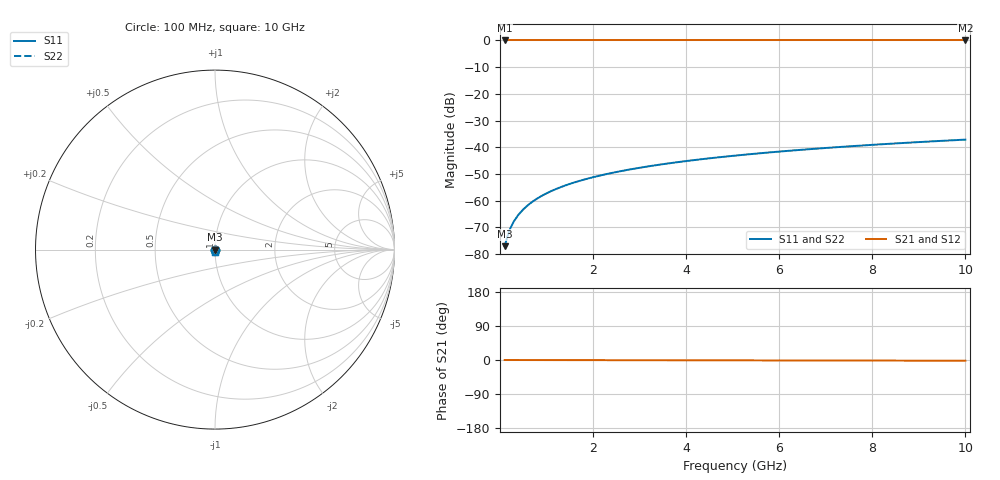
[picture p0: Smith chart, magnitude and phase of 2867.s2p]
# Hz S RI R 50.00
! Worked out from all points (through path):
!   100 points, 100 MHz to 10 GHz, reference 50 ohm
!   highest |S21| = 0.00 dB at 100 MHz (marker M1); lowest = 0.0 dB at 10 GHz (marker M2)
!   lowest |S11| = -77.0 dB at 100 MHz (marker M3), VSWR 1.00, Z = 50 - j0.0138 ohm
!   |S11| at or under -10 dB: start of sweep to end of sweep
!   |S22| runs from -77.0 to -37.1 dB; largest |S21 - S12| = 0
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1e8  3.26e-05 -0.000138  1 -0.000324  1 -0.000324  3.26e-05 -0.000138
2e8  3.24e-05 -0.000275  1 -0.000648  1 -0.000648  3.24e-05 -0.000275
3e8  3.22e-05 -0.000413  1 -0.000972  1 -0.000972  3.22e-05 -0.000413
4e8  3.18e-05 -0.00055  1 -0.0013  1 -0.0013  3.18e-05 -0.00055
5e8  3.13e-05 -0.000688  1 -0.00162  1 -0.00162  3.13e-05 -0.000688
6e8  3.07e-05 -0.000826  1 -0.00194  1 -0.00194  3.07e-05 -0.000826
7e8  2.99e-05 -0.000964  1 -0.00227  1 -0.00227  2.99e-05 -0.000964
8e8  2.91e-05 -0.0011  1 -0.00259  1 -0.00259  2.91e-05 -0.0011
9e8  2.82e-05 -0.00124  1 -0.00292  1 -0.00292  2.82e-05 -0.00124
1.1e9  2.62e-05 -0.00151  1 -0.00357  1 -0.00357  2.62e-05 -0.00151
1.4e9  2.24e-05 -0.00193  0.9999 -0.00454  0.9999 -0.00454  2.24e-05 -0.00193
1.8e9  1.6e-05 -0.00248  0.9999 -0.00584  0.9999 -0.00584  1.6e-05 -0.00248
2.1e9  1.02e-05 -0.0029  0.9999 -0.00682  0.9999 -0.00682  1.02e-05 -0.0029
2.5e9  1.31e-06 -0.00345  0.9999 -0.00812  0.9999 -0.00812  1.31e-06 -0.00345
2.9e9  -9.09e-06 -0.004  0.9999 -0.00942  0.9999 -0.00942  -9.09e-06 -0.004
3.4e9  -2.42e-05 -0.0047  0.9999 -0.0111  0.9999 -0.0111  -2.42e-05 -0.0047
4.2e9  -5.3e-05 -0.00581  0.9998 -0.0137  0.9998 -0.0137  -5.3e-05 -0.00581
5.1e9  -9.26e-05 -0.00706  0.9998 -0.0166  0.9998 -0.0166  -9.26e-05 -0.00706
5.9e9  -0.000134 -0.00818  0.9997 -0.0192  0.9997 -0.0192  -0.000134 -0.00818
6.7e9  -0.000182 -0.0093  0.9997 -0.0219  0.9997 -0.0219  -0.000182 -0.0093
8.4e9  -0.000303 -0.0117  0.9995 -0.0275  0.9995 -0.0275  -0.000303 -0.0117
1e10  -0.000441 -0.0139  0.9993 -0.0328  0.9993 -0.0328  -0.000441 -0.0139
